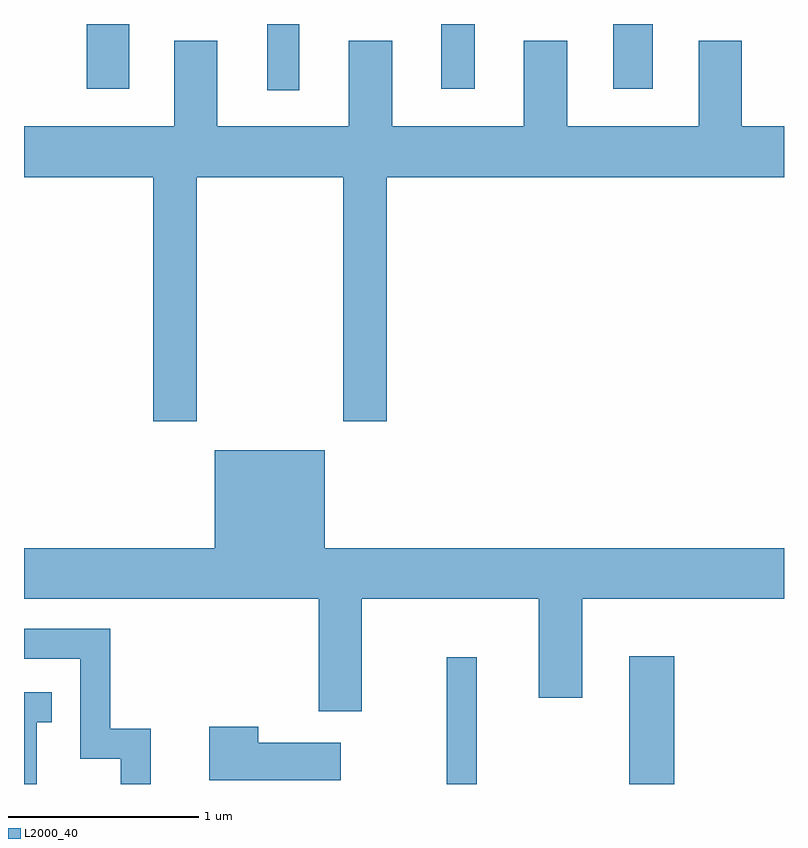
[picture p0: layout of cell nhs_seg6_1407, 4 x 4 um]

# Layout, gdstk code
import gdstk
lib = gdstk.Library(unit=1e-6, precision=1e-09)
def R(c, l, rs):  # rectangles x0, y0, x1, y1
    for r in rs: c.add(gdstk.rectangle(r[:2], r[2:], *l))
def P(c, l, *ps):  # polygons
    for p in ps: c.add(gdstk.Polygon(p, *l))
L2000_40 = (2000, 40)

nhs_seg6_1407 = lib.new_cell('nhs_seg6_1407')
R(nhs_seg6_1407, L2000_40, [(229.836,1560.162,229.994,1560.828), (230.796,1560.162,231.034,1560.834), (228.891,1563.813,229.059,1564.162), (227.941,1563.821,228.164,1564.162), (229.806,1563.821,229.984,1564.162), (230.711,1563.821,230.919,1564.162)])
P(nhs_seg6_1407, L2000_40, [(228.519,1563.356),(229.291,1563.356),(229.291,1562.071),(229.519,1562.071),(229.519,1563.356),(231.611,1563.356),(231.611,1563.624),(231.389,1563.624),(231.389,1564.074),(231.161,1564.074),(231.161,1563.624),(230.469,1563.624),(230.469,1564.074),(230.241,1564.074),(230.241,1563.624),(229.549,1563.624),(229.549,1564.074),(229.321,1564.074),(229.321,1563.624),(228.629,1563.624),(228.629,1564.074),(228.401,1564.074),(228.401,1563.624),(227.611,1563.624),(227.611,1563.356),(228.291,1563.356),(228.291,1562.071),(228.519,1562.071)],
  [(229.389,1561.136),(230.321,1561.136),(230.321,1560.616),(230.549,1560.616),(230.549,1561.136),(231.611,1561.136),(231.611,1561.404),(229.194,1561.404),(229.194,1561.919),(228.616,1561.919),(228.616,1561.404),(227.611,1561.404),(227.611,1561.136),(229.161,1561.136),(229.161,1560.546),(229.389,1560.546)],
  [(228.279,1560.454),(228.064,1560.454),(228.064,1560.979),(227.611,1560.979),(227.611,1560.821),(227.906,1560.821),(227.906,1560.296),(228.121,1560.296),(228.121,1560.162),(228.279,1560.162)],
  [(227.679,1560.486),(227.758,1560.486),(227.758,1560.644),(227.611,1560.644),(227.611,1560.162),(227.679,1560.162)],
  [(229.279,1560.379),(228.844,1560.379),(228.844,1560.464),(228.586,1560.464),(228.586,1560.181),(229.279,1560.181)])

lib.write_gds('nhs_seg6_1407.gds')
